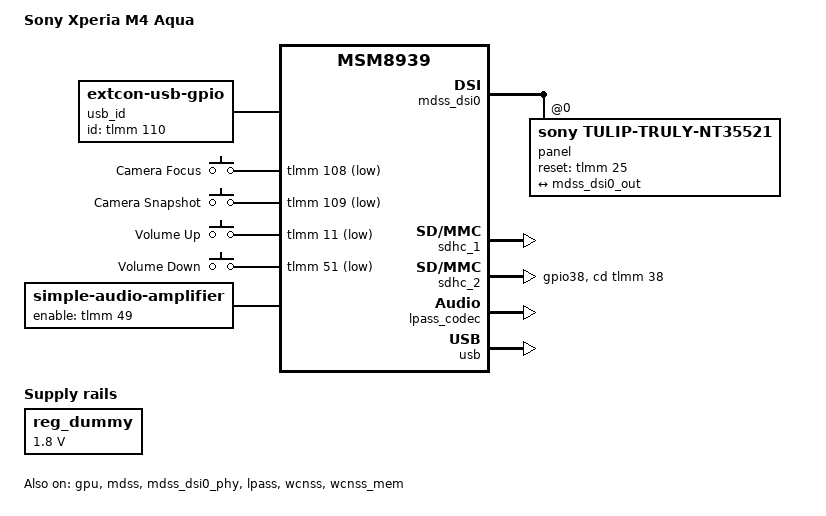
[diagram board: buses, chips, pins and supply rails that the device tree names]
// SPDX-License-Identifier: GPL-2.0
/*
 * Copyright (c) 2015, The Linux Foundation. All rights reserved.
 * Copyright (c) 2022-2023, Bryan O'Donoghue.
 *
 */

/dts-v1/;

#include "msm8939.dtsi"
#include "msm8939-pm8916.dtsi"
#include <dt-bindings/arm/qcom,ids.h>
#include <dt-bindings/gpio/gpio.h>
#include <dt-bindings/pinctrl/qcom,pmic-gpio.h>
#include <dt-bindings/sound/qcom,lpass.h>
#include <dt-bindings/sound/apq8016-lpass.h>

/ {
	model = "Sony Xperia M4 Aqua";
	compatible = "sony,kanuti-tulip", "qcom,msm8939";
	chassis-type = "handset";

	qcom,board-id = <QCOM_BOARD_ID_MTP 0>;
	qcom,msm-id = <QCOM_ID_MSM8939 0>, <QCOM_ID_MSM8939 0x30000>;

	aliases {
		mmc0 = &sdhc_1; /* SDC1 eMMC slot */
		mmc1 = &sdhc_2; /* SDC2 SD card slot */
		serial0 = &blsp_uart2;
	};

	chosen {
		stdout-path = "serial0:115200n8";
	};

	usb_id: usb-id {
		compatible = "linux,extcon-usb-gpio";
		id-gpios = <&tlmm 110 GPIO_ACTIVE_HIGH>;
		pinctrl-0 = <&usb_id_default>;
		pinctrl-names = "default";
	};

	gpio-keys {
		compatible = "gpio-keys";

		pinctrl-0 = <&gpio_keys_default>;
		pinctrl-names = "default";

		button-camera-focus {
			label = "Camera Focus";
			gpios = <&tlmm 108 GPIO_ACTIVE_LOW>;
			linux,code = <KEY_CAMERA_FOCUS>;
			wakeup-source;
			debounce-interval = <100>;
		};

		button-camera-snapshot {
			label = "Camera Snapshot";
			gpios = <&tlmm 109 GPIO_ACTIVE_LOW>;
			linux,code = <0x2fe>;
			wakeup-source;
			debounce-interval = <100>;

		};

		button-volume-up {
			label = "Volume Up";
			gpios = <&tlmm 11 GPIO_ACTIVE_LOW>;
			linux,code = <KEY_VOLUMEUP>;
			debounce-interval = <100>;
		};

		button-volume-down {
			label = "Volume Down";
			gpios = <&tlmm 51 GPIO_ACTIVE_LOW>;
			linux,code = <KEY_VOLUMEDOWN>;
			debounce-interval = <15>;
		};
	};

	amp: analog-amplifier {
		compatible = "simple-audio-amplifier";

		enable-gpios = <&tlmm 49 GPIO_ACTIVE_HIGH>;
		status = "okay";
	};

	reg_dummy: regulator-dummy {
		compatible = "regulator-fixed";
		regulator-name = "dummy_regulator";
		regulator-min-microvolt = <1800000>;
		regulator-max-microvolt = <1800000>;
	};
};

&gpu {
	status = "okay";
};

&mdss {
	status = "okay";
};

&mdss_dsi0 {
	vdda-supply = <&pm8916_l2>;
	vddio-supply = <&pm8916_l6>;
	status = "okay";
	positive5-supply = <&reg_dummy>;
	negative5-supply = <&reg_dummy>;

	panel@0 {
		compatible = "sony,tulip-truly-nt35521";
		reg = <0>;

		reset-gpios = <&tlmm 25 GPIO_ACTIVE_HIGH>;

		ports {
			#address-cells = <1>;
			#size-cells = <0>;

			port@0 {
				reg = <0>;

				panel_in: endpoint {
					remote-endpoint = <&mdss_dsi0_out>;
				};
			};
		};
	};
};

&mdss_dsi0_phy {
	vddio-supply = <&pm8916_l6>;
	status = "okay";
};

&mdss_dsi0_out {
	remote-endpoint = <&panel_in>;
	data-lanes = <0 1 2 3>;
};

&tlmm {
	sdc2_cd_default: sdc2-cd-default-state {
		pins = "gpio38";
		function = "gpio";
		drive-strength = <2>;
		bias-pull-up;
	};

	usb_id_default: usb-id-default-state {
		pins = "gpio110";
		function = "gpio";
		bias-pull-up;
		drive-strength = <8>;
	};

	gpio_keys_default: gpio-key-default {
		pins = "gpio11", "gpio51", "gpio108", "gpio109";
		function = "gpio";
		bias-pull-up;
		drive-strength = <2>;
	};

	mdss_dsi_default: mdss-dsi-default {
		pins = "gpio25", "gpio97", "gpio98";
		function = "gpio";

		drive-strength = <8>;
		bias-disable;
	};

	mdss_dsi_sleep: mdss-dsi-sleep {
		pins = "gpio25", "gpio97", "gpio98";
		function = "gpio";

		drive-strength = <2>;
		bias-pull-down;
	};
};

&sdhc_1 {
	status = "okay";
};

&sdhc_2 {
	pinctrl-0 = <&sdc2_default &sdc2_cd_default>;
	pinctrl-1 = <&sdc2_sleep &sdc2_cd_default>;
	pinctrl-names = "default", "sleep";
	cd-gpios = <&tlmm 38 GPIO_ACTIVE_HIGH>;
	status = "okay";
};

&sound {
	pinctrl-names = "default", "sleep";
	pinctrl-0 = <&cdc_pdm_default>;
	pinctrl-1 = <&cdc_pdm_sleep>;
	status = "okay";

	model = "sony-tulip";
	audio-routing =
	"AMIC1", "MIC BIAS External1",
	"AMIC2", "MIC BIAS Internal2",
	"AMIC3", "MIC BIAS External1";
	aux-devs = <&amp>;

	internal-codec-playback-dai-link@0 {
		link-name = "WCD";

		cpu {
			sound-dai = <&lpass MI2S_PRIMARY>;
		};

		codec {
			sound-dai = <&lpass_codec 0>;
		};
	};

	internal-codec-capture-dai-link@0 {
		link-name = "WCD-Capture";

		cpu {
			sound-dai = <&lpass MI2S_TERTIARY>;
		};

		codec {
			sound-dai = <&lpass_codec 1>;
		};
	};
};

&lpass {
	status = "okay";
};

&lpass_codec {
	status = "okay";
};

&usb {
	extcon = <&usb_id>, <&usb_id>;
	status = "okay";
};

&usb_hs_phy {
	extcon = <&usb_id>;
};

&wcnss {
	status = "okay";
};

&wcnss_iris {
	compatible = "qcom,wcn3660";
};

&wcnss_mem {
	status = "okay";
};
